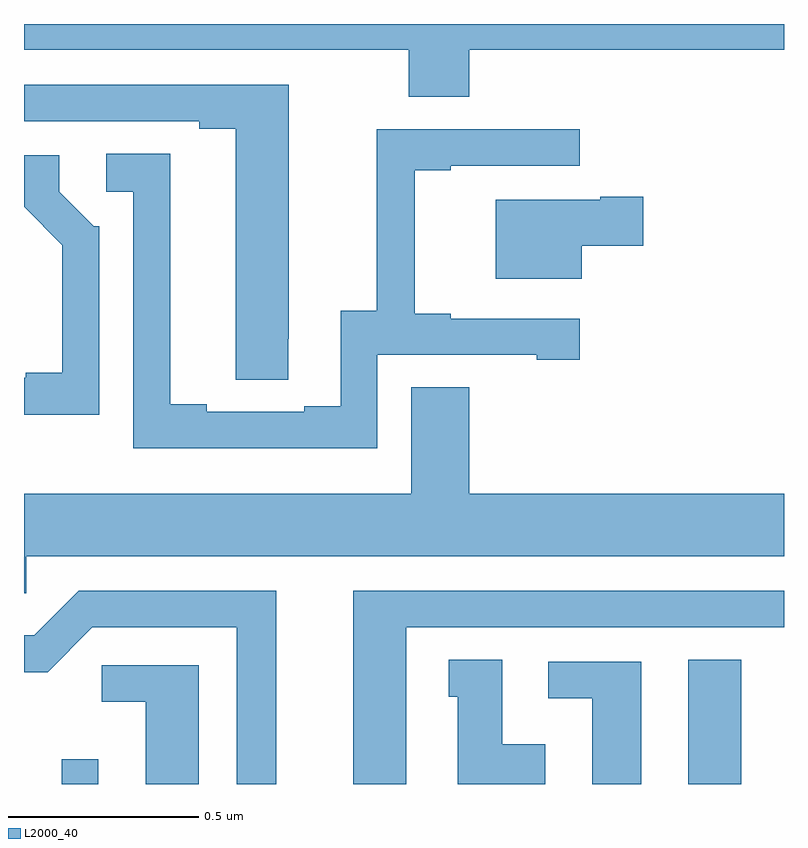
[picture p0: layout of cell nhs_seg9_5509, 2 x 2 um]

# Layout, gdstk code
import gdstk
lib = gdstk.Library(unit=1e-6, precision=1e-09)
def R(c, l, rs):  # rectangles x0, y0, x1, y1
    for r in rs: c.add(gdstk.rectangle(r[:2], r[2:], *l))
def P(c, l, *ps):  # polygons
    for p in ps: c.add(gdstk.Polygon(p, *l))
L2000_40 = (2000, 40)

nhs_seg9_5509 = lib.new_cell('nhs_seg9_5509')
R(nhs_seg9_5509, L2000_40, [(180.099,1182.5,180.195,1182.565), (181.748,1182.5,181.888,1182.827)])
P(nhs_seg9_5509, L2000_40, [(181.172,1184.432),(182,1184.432),(182,1184.5),(180,1184.5),(180,1184.432),(181.012,1184.432),(181.012,1184.308),(181.172,1184.308)],
  [(180.696,1183.672),(180.697,1183.672),(180.697,1184.34),(180,1184.34),(180,1184.244),(180.461,1184.244),(180.461,1184.224),(180.557,1184.224),(180.557,1183.564),(180.696,1183.564)],
  [(180.93,1183.629),(181.349,1183.629),(181.349,1183.617),(181.462,1183.617),(181.462,1183.725),(181.123,1183.725),(181.123,1183.738),(181.028,1183.738),(181.028,1184.115),(181.123,1184.115),(181.123,1184.127),(181.462,1184.127),(181.462,1184.223),(180.928,1184.223),(180.928,1183.745),(180.833,1183.745),(180.833,1183.494),(180.737,1183.494),(180.737,1183.479),(180.481,1183.479),(180.481,1183.499),(180.385,1183.499),(180.385,1184.159),(180.216,1184.159),(180.216,1184.058),(180.288,1184.058),(180.288,1183.383),(180.93,1183.383)],
  [(180.198,1183.968),(180.183,1183.968),(180.093,1184.058),(180.093,1184.154),(180,1184.154),(180,1184.019),(180.101,1183.918),(180.101,1183.582),(180.005,1183.582),(180.005,1183.569),(180,1183.569),(180,1183.472),(180.198,1183.472)],
  [(181.468,1183.916),(181.63,1183.916),(181.63,1184.046),(181.517,1184.046),(181.517,1184.038),(181.241,1184.038),(181.241,1183.829),(181.468,1183.829)],
  [(180.006,1183.1),(182,1183.1),(182,1183.264),(181.172,1183.264),(181.172,1183.544),(181.019,1183.544),(181.019,1183.264),(180,1183.264),(180,1183.002),(180.006,1183.002)],
  [(181.006,1182.912),(182,1182.912),(182,1183.008),(180.866,1183.008),(180.866,1182.5),(181.006,1182.5)],
  [(180.664,1183.008),(180.144,1183.008),(180.027,1182.891),(180,1182.891),(180,1182.794),(180.062,1182.794),(180.18,1182.912),(180.56,1182.912),(180.56,1182.5),(180.664,1182.5)],
  [(181.372,1182.604),(181.258,1182.604),(181.258,1182.827),(181.118,1182.827),(181.118,1182.729),(181.142,1182.729),(181.142,1182.5),(181.372,1182.5)],
  [(181.624,1182.822),(181.38,1182.822),(181.38,1182.726),(181.496,1182.726),(181.496,1182.5),(181.624,1182.5)],
  [(180.46,1182.813),(180.204,1182.813),(180.204,1182.716),(180.32,1182.716),(180.32,1182.5),(180.46,1182.5)])

lib.write_gds('nhs_seg9_5509.gds')
